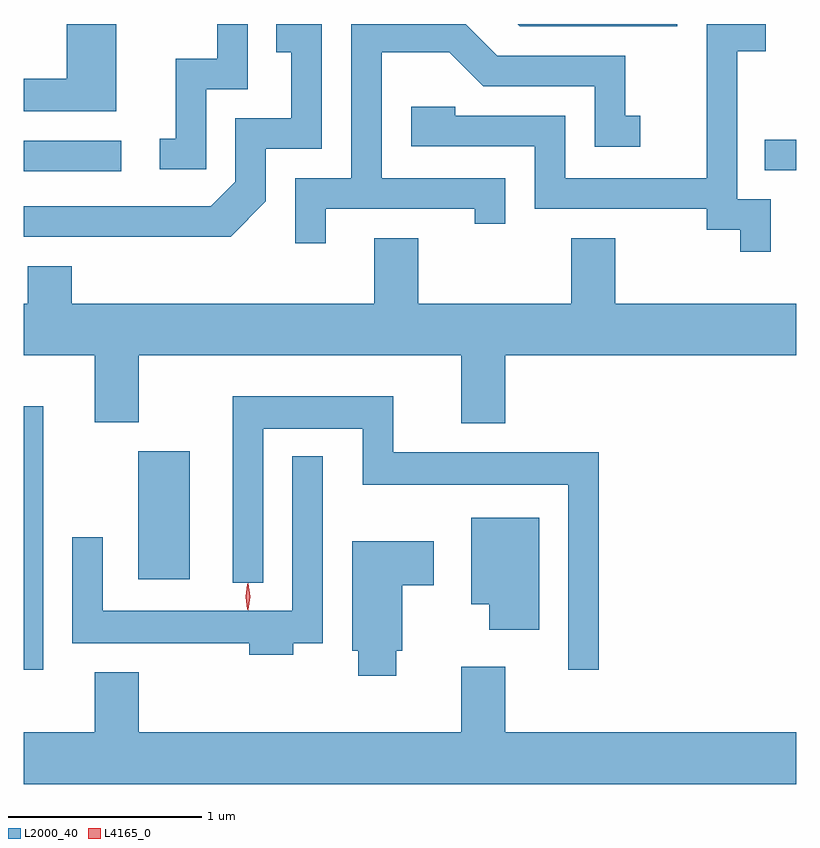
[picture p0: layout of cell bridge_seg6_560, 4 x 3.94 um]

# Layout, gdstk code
import gdstk
lib = gdstk.Library(unit=1e-6, precision=1e-09)
def R(c, l, rs):  # rectangles x0, y0, x1, y1
    for r in rs: c.add(gdstk.rectangle(r[:2], r[2:], *l))
def P(c, l, *ps):  # polygons
    for p in ps: c.add(gdstk.Polygon(p, *l))
L2000_40 = (2000, 40)
L4165_0 = (4165, 0)

bridge_seg6_560 = lib.new_cell('bridge_seg6_560')
R(bridge_seg6_560, L2000_40, [(498.835,1632.768,498.934,1634.134), (499.426,1633.236,499.694,1633.899), (498.835,1635.351,499.338,1635.509), (502.673,1635.356,502.835,1635.514)])
P(bridge_seg6_560, L2000_40, [(500.089,1635.194),(500.089,1635.466),(500.379,1635.466),(500.379,1636.113),(500.143,1636.113),(500.143,1635.966),(500.221,1635.966),(500.221,1635.624),(499.931,1635.624),(499.931,1635.297),(499.804,1635.169),(498.835,1635.169),(498.835,1635.011),(499.907,1635.011)],
  [(500.399,1635.156),(501.171,1635.156),(501.171,1635.078),(501.329,1635.078),(501.329,1635.314),(500.689,1635.314),(500.689,1635.966),(501.039,1635.966),(501.214,1635.791),(501.791,1635.791),(501.791,1635.476),(502.028,1635.476),(502.028,1635.639),(501.949,1635.639),(501.949,1635.949),(501.287,1635.949),(501.123,1636.113),(500.531,1636.113),(500.531,1635.314),(500.241,1635.314),(500.241,1634.978),(500.399,1634.978)],
  [(499.314,1636.113),(499.056,1636.113),(499.056,1635.829),(498.835,1635.829),(498.835,1635.661),(499.314,1635.661)],
  [(502.704,1635.204),(502.529,1635.204),(502.529,1635.971),(502.679,1635.971),(502.679,1636.113),(502.371,1636.113),(502.371,1635.314),(501.639,1635.314),(501.639,1635.639),(501.069,1635.639),(501.069,1635.684),(500.841,1635.684),(500.841,1635.481),(501.481,1635.481),(501.481,1635.156),(502.371,1635.156),(502.371,1635.046),(502.546,1635.046),(502.546,1634.933),(502.704,1634.933)],
  [(502.219,1636.113),(501.392,1636.113),(501.404,1636.101),(502.219,1636.101)],
  [(499.779,1635.776),(499.994,1635.776),(499.994,1636.113),(499.836,1636.113),(499.836,1635.934),(499.621,1635.934),(499.621,1635.519),(499.538,1635.519),(499.538,1635.361),(499.779,1635.361)],
  [(501.329,1634.396),(502.835,1634.396),(502.835,1634.664),(501.899,1634.664),(501.899,1635.004),(501.671,1635.004),(501.671,1634.664),(500.879,1634.664),(500.879,1635.004),(500.651,1635.004),(500.651,1634.664),(499.084,1634.664),(499.084,1634.859),(498.856,1634.859),(498.856,1634.664),(498.835,1634.664),(498.835,1634.396),(499.201,1634.396),(499.201,1634.051),(499.429,1634.051),(499.429,1634.396),(501.101,1634.396),(501.101,1634.046),(501.329,1634.046)],
  [(501.814,1633.894),(500.749,1633.894),(500.749,1634.184),(499.916,1634.184),(499.916,1633.218),(500.074,1633.218),(500.074,1634.016),(500.591,1634.016),(500.591,1633.726),(501.656,1633.726),(501.656,1632.768),(501.814,1632.768)],
  [(500.229,1632.906),(500.384,1632.906),(500.384,1633.873),(500.226,1633.873),(500.226,1633.074),(499.244,1633.074),(499.244,1633.453),(499.086,1633.453),(499.086,1632.906),(500.001,1632.906),(500.001,1632.846),(500.229,1632.846)],
  [(501.504,1633.554),(501.151,1633.554),(501.151,1633.106),(501.246,1633.106),(501.246,1632.976),(501.504,1632.976)],
  [(500.764,1632.866),(500.794,1632.866),(500.794,1633.206),(500.959,1633.206),(500.959,1633.434),(500.536,1633.434),(500.536,1632.866),(500.566,1632.866),(500.566,1632.736),(500.764,1632.736)],
  [(502.835,1632.444),(501.329,1632.444),(501.329,1632.784),(501.101,1632.784),(501.101,1632.444),(499.429,1632.444),(499.429,1632.754),(499.201,1632.754),(499.201,1632.444),(498.835,1632.444),(498.835,1632.176),(502.835,1632.176)])
P(bridge_seg6_560, L4165_0, [(499.994,1633.079),(499.993,1633.08),(499.984,1633.146),(499.993,1633.212),(499.994,1633.213),(499.994,1633.212),(500.004,1633.146),(499.994,1633.08)],
  [(499.998,1633.077),(499.997,1633.078),(499.988,1633.147),(499.997,1633.216),(499.997,1633.216),(499.998,1633.216),(500.008,1633.147),(499.998,1633.078)])

lib.write_gds('bridge_seg6_560.gds')
